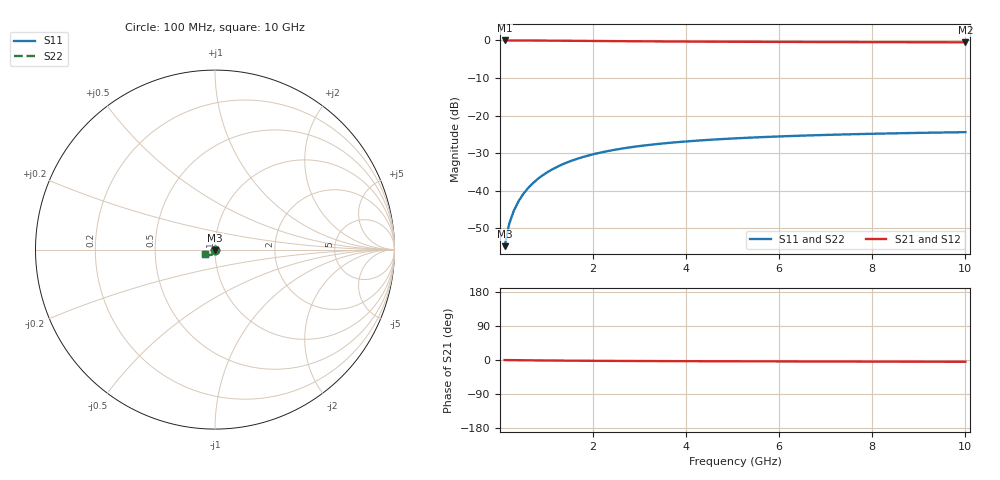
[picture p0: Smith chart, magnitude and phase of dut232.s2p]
! Touchstone file exported from HFSS 2024.1.0
!  File:  C:/UserFiles/LocalFiles/RDL_TSV_Batchsim/temp_TSV1_232_1778767452.aedt
!  Generated:  10:09:32 PM May 14, 2026
!  Design:  TSV1
!  Project:  temp_TSV1_232_1778767452
!  Setup:  Setup1
!  Solution:  Sweep
! Variables:
!  dtsv = 16.6um
!  hbump = 3um
!  htsv = 67.13um
!  lrdl = 252.1521522um
!  p = 40
!  p1 = 51.71um
!  t = 500um
!  trdl = 3um
!  wrdl = 24.89489489um
# GHz S MA R 50.000000
! Terminal data exported
! Port[1] = TSV22_T1
! Port[2] = TSV22_T2
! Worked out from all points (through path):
!   100 points, 100 MHz to 10 GHz, reference 50 ohm
!   highest |S21| = 0.00 dB at 100 MHz (marker M1); lowest = -0.5 dB at 10 GHz (marker M2)
!   lowest |S11| = -54.8 dB at 100 MHz (marker M3), VSWR 1.00, Z = 50 - j0.182 ohm
!   |S11| at or under -10 dB: start of sweep to end of sweep
!   |S22| runs from -54.8 to -24.4 dB; largest |S21 - S12| = 2.2e-15
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0.1  0.001817 -89.6  0.9999 -0.1  0.9999 -0.1  0.001817 -89.6
! Gamma 0 0 0 0
! Port Impedance 50 0 50 0
0.2  0.003629 -92.6  0.9997 -0.3  0.9997 -0.3  0.003629 -92.6
0.3  0.005432 -94.8  0.9994 -0.4  0.9994 -0.4  0.005432 -94.8
0.4  0.007219 -96.8  0.999 -0.6  0.999 -0.6  0.007219 -96.8
0.5  0.008985 -98.7  0.9985 -0.7  0.9985 -0.7  0.008985 -98.7
0.6  0.01072 -100.5  0.9979 -0.8  0.9979 -0.8  0.01072 -100.5
0.7  0.01243 -102.2  0.9972 -0.9  0.9972 -0.9  0.01243 -102.2
0.8  0.01409 -104.0  0.9964 -1.1  0.9964 -1.1  0.01409 -104.0
0.9  0.01572 -105.6  0.9955 -1.2  0.9955 -1.2  0.01572 -105.6
1.1  0.01883 -108.8  0.9937 -1.4  0.9937 -1.4  0.01883 -108.8
1.4  0.02313 -113.3  0.9906 -1.7  0.9906 -1.7  0.02313 -113.3
1.6  0.02575 -116.1  0.9885 -1.9  0.9885 -1.9  0.02575 -116.1
1.8  0.02817 -118.6  0.9863 -2.0  0.9863 -2.0  0.02817 -118.6
2.1  0.03145 -122.2  0.9832 -2.2  0.9832 -2.2  0.03145 -122.2
2.5  0.03524 -126.4  0.9792 -2.5  0.9792 -2.5  0.03524 -126.4
2.9  0.03846 -130.0  0.9754 -2.7  0.9754 -2.7  0.03846 -130.0
3.4  0.04183 -133.9  0.9713 -2.9  0.9713 -2.9  0.04183 -133.9
4.2  0.0461 -138.9  0.9656 -3.2  0.9656 -3.2  0.0461 -138.9
5.1  0.04978 -143.3  0.9604 -3.4  0.9604 -3.4  0.04978 -143.3
6.7  0.05444 -149.0  0.9535 -3.9  0.9535 -3.9  0.05444 -149.0
8.4  0.05778 -153.5  0.9485 -4.3  0.9485 -4.3  0.05778 -153.5
10  0.05998 -156.7  0.9451 -4.7  0.9451 -4.7  0.05998 -156.7
